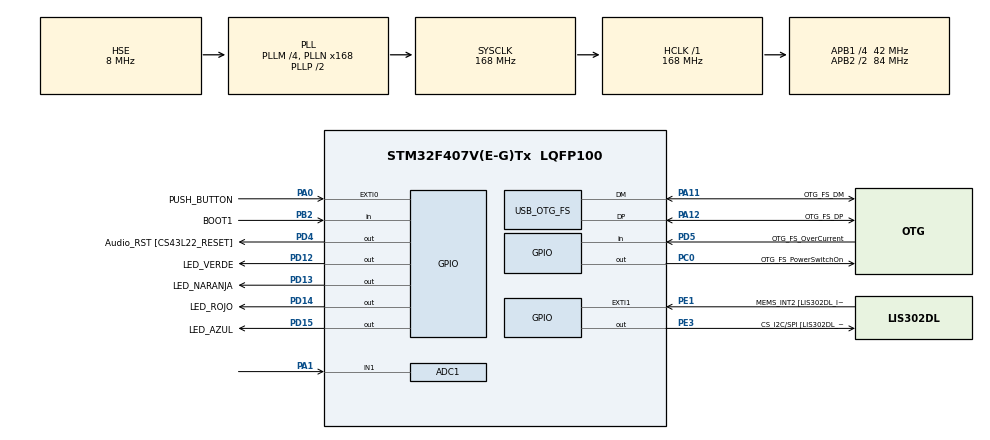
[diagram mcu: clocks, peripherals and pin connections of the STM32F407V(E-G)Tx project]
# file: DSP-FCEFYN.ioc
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ADC1.Channel-0\#ChannelRegularConversion=ADC_CHANNEL_1
ADC1.ClockPrescaler=ADC_CLOCK_SYNC_PCLK_DIV4
ADC1.ContinuousConvMode=DISABLE
ADC1.DMAContinuousRequests=DISABLE
ADC1.ExternalTrigConv=ADC_EXTERNALTRIGCONV_T2_TRGO
ADC1.NbrOfConversionFlag=1
ADC1.Rank-0\#ChannelRegularConversion=1
ADC1.Resolution=ADC_RESOLUTION_12B
ADC1.SamplingTime-0\#ChannelRegularConversion=ADC_SAMPLETIME_3CYCLES
ADC1.master=1
Mcu.Family=STM32F4
Mcu.Name=STM32F407V(E-G)Tx
Mcu.Package=LQFP100
NVIC.ADC_IRQn=true\:0\:0\:false\:false\:true\:true\:true\:true
NVIC.EXTI0_IRQn=true\:0\:2\:false\:false\:true\:true\:true\:true
NVIC.OTG_FS_IRQn=true\:0\:0\:false\:false\:true\:false\:true\:true
NVIC.PriorityGroup=NVIC_PRIORITYGROUP_0
NVIC.TIM5_IRQn=true\:0\:0\:false\:false\:true\:true\:true\:true
PA0-WKUP.GPIO_Label=PUSH_BUTTON
PA0-WKUP.Signal=GPXTI0
PA1.Signal=ADCx_IN1
PA10.GPIO_Label=OTG_FS_ID
PA10.GPIO_Mode=GPIO_MODE_AF_PP
PA10.GPIO_PuPd=GPIO_NOPULL
PA10.GPIO_Speed=GPIO_SPEED_FREQ_LOW
PA10.Signal=USB_OTG_FS_ID
PA11.GPIO_Label=OTG_FS_DM
PA11.GPIO_Mode=GPIO_MODE_AF_PP
PA11.GPIO_PuPd=GPIO_NOPULL
PA11.GPIO_Speed=GPIO_SPEED_FREQ_LOW
PA11.Mode=Device_Only
PA11.Signal=USB_OTG_FS_DM
PA12.GPIO_Label=OTG_FS_DP
PA12.GPIO_Mode=GPIO_MODE_AF_PP
PA12.GPIO_PuPd=GPIO_NOPULL
PA12.GPIO_Speed=GPIO_SPEED_FREQ_LOW
PA12.Mode=Device_Only
PA12.Signal=USB_OTG_FS_DP
PA13.GPIO_Label=SWDIO
PA13.Signal=SYS_JTMS-SWDIO
PA14.GPIO_Label=SWCLK
PA14.Signal=SYS_JTCK-SWCLK
PA4.GPIO_Label=I2S3_WS [CS43L22_LRCK]
PA4.GPIO_Mode=GPIO_MODE_AF_PP
PA4.GPIO_PuPd=GPIO_NOPULL
PA4.GPIO_Speed=GPIO_SPEED_FREQ_LOW
PA4.Signal=I2S3_WS
PA5.GPIO_Label=SPI1_SCK [LIS302DL_SCL/SPC]
PA5.GPIO_Mode=GPIO_MODE_AF_PP
PA5.GPIO_PuPd=GPIO_NOPULL
PA5.GPIO_Speed=GPIO_SPEED_FREQ_LOW
PA5.Signal=SPI1_SCK
PA6.GPIO_Label=SPI1_MISO [LIS302DL_SDO]
PA6.GPIO_Mode=GPIO_MODE_AF_PP
PA6.GPIO_PuPd=GPIO_NOPULL
PA6.GPIO_Speed=GPIO_SPEED_FREQ_LOW
PA6.Signal=SPI1_MISO
PA7.GPIO_Label=SPI1_MOSI [LIS302DL_SDA/SDI/SDO]
PA7.GPIO_Mode=GPIO_MODE_AF_PP
PA7.GPIO_PuPd=GPIO_NOPULL
PA7.GPIO_Speed=GPIO_SPEED_FREQ_LOW
PA7.Signal=SPI1_MOSI
PA9.GPIO_Label=VBUS_FS
PA9.GPIO_Mode=GPIO_MODE_INPUT
PA9.GPIO_PuPd=GPIO_NOPULL
PA9.Signal=USB_OTG_FS_VBUS
PB10.GPIO_Label=CLK_IN [MP45DT02_CLK]
PB10.GPIO_Mode=GPIO_MODE_AF_PP
PB10.GPIO_PuPd=GPIO_NOPULL
PB10.GPIO_Speed=GPIO_SPEED_FREQ_LOW
PB10.Signal=I2S2_CK
PB2.GPIO_Label=BOOT1
PB2.GPIO_Mode=GPIO_MODE_INPUT
PB2.GPIO_PuPd=GPIO_NOPULL
PB2.Signal=GPIO_Input
PB3.GPIO_Label=SWO
PB3.Signal=SYS_JTDO-SWO
PB6.GPIO_Label=Audio_SCL [CS43L22_SCL]
PB6.GPIO_Mode=GPIO_MODE_AF_OD
PB6.GPIO_PuPd=GPIO_NOPULL
PB6.GPIO_Speed=GPIO_SPEED_FREQ_LOW
PB6.Signal=I2C1_SCL
PB9.GPIO_Label=Audio_SDA [CS43L22_SDA]
PB9.GPIO_Mode=GPIO_MODE_AF_OD
PB9.GPIO_PuPd=GPIO_NOPULL
PB9.GPIO_Speed=GPIO_SPEED_FREQ_LOW
PB9.Signal=I2C1_SDA
PC0.GPIO_Label=OTG_FS_PowerSwitchOn
PC0.GPIO_PuPd=GPIO_NOPULL
PC0.GPIO_Speed=GPIO_SPEED_FREQ_LOW
PC0.PinState=GPIO_PIN_SET
PC0.Signal=GPIO_Output
PC10.GPIO_Label=I2S3_SCK [CS43L22_SCLK]
PC10.GPIO_Mode=GPIO_MODE_AF_PP
PC10.GPIO_PuPd=GPIO_NOPULL
PC10.GPIO_Speed=GPIO_SPEED_FREQ_LOW
PC10.Signal=I2S3_CK
PC12.GPIO_Label=I2S3_SD [CS43L22_SDIN]
PC12.GPIO_Mode=GPIO_MODE_AF_PP
PC12.GPIO_PuPd=GPIO_NOPULL
PC12.GPIO_Speed=GPIO_SPEED_FREQ_LOW
PC12.Signal=I2S3_SD
PC14-OSC32_IN.GPIO_Label=PC14-OSC32_IN
PC14-OSC32_IN.Signal=RCC_OSC32_IN
PC15-OSC32_OUT.GPIO_Label=PC15-OSC32_OUT
PC15-OSC32_OUT.Signal=RCC_OSC32_OUT
PC3.GPIO_Label=PDM_OUT [MP45DT02_DOUT]
PC3.GPIO_Mode=GPIO_MODE_AF_PP
PC3.GPIO_PuPd=GPIO_NOPULL
PC3.GPIO_Speed=GPIO_SPEED_FREQ_LOW
PC3.Signal=I2S2_SD
PC7.GPIO_Label=I2S3_MCK [CS43L22_MCLK]
PC7.GPIO_Mode=GPIO_MODE_AF_PP
PC7.GPIO_PuPd=GPIO_NOPULL
PC7.GPIO_Speed=GPIO_SPEED_FREQ_LOW
PC7.Signal=I2S3_MCK
PD12.GPIO_Label=LED_VERDE
PD12.GPIO_ModeDefaultOutputPP=GPIO_MODE_OUTPUT_PP
PD12.GPIO_PuPd=GPIO_PULLDOWN
PD12.GPIO_Speed=GPIO_SPEED_FREQ_LOW
PD12.Signal=GPIO_Output
PD13.GPIO_Label=LED_NARANJA
PD13.GPIO_PuPd=GPIO_PULLDOWN
PD13.GPIO_Speed=GPIO_SPEED_FREQ_LOW
PD13.Signal=GPIO_Output
PD14.GPIO_Label=LED_ROJO
PD14.GPIO_PuPd=GPIO_PULLDOWN
PD14.GPIO_Speed=GPIO_SPEED_FREQ_LOW
PD14.Signal=GPIO_Output
PD15.GPIO_Label=LED_AZUL
PD15.GPIO_PuPd=GPIO_PULLDOWN
PD15.GPIO_Speed=GPIO_SPEED_FREQ_LOW
PD15.Signal=GPIO_Output
PD4.GPIO_Label=Audio_RST [CS43L22_RESET]
PD4.GPIO_PuPd=GPIO_NOPULL
PD4.GPIO_Speed=GPIO_SPEED_FREQ_LOW
PD4.Signal=GPIO_Output
PD5.GPIO_Label=OTG_FS_OverCurrent
PD5.GPIO_Mode=GPIO_MODE_INPUT
PD5.GPIO_PuPd=GPIO_NOPULL
PD5.Signal=GPIO_Input
PE1.GPIO_Label=MEMS_INT2 [LIS302DL_INT2]
PE1.GPIO_ModeDefaultEXTI=GPIO_MODE_EVT_RISING
PE1.GPIO_PuPd=GPIO_NOPULL
PE1.Signal=GPXTI1
PE3.GPIO_Label=CS_I2C/SPI [LIS302DL_CS_I2C/SPI]
PE3.GPIO_PuPd=GPIO_NOPULL
PE3.GPIO_Speed=GPIO_SPEED_FREQ_LOW
PE3.Signal=GPIO_Output
PH0-OSC_IN.GPIO_Label=PH0-OSC_IN
PH0-OSC_IN.Mode=HSE-External-Clock-Source
PH0-OSC_IN.Signal=RCC_OSC_IN
PH1-OSC_OUT.GPIO_Label=PH1-OSC_OUT
PH1-OSC_OUT.Mode=HSE-External-Clock-Source
PH1-OSC_OUT.Signal=RCC_OSC_OUT
ProjectManager.HeapSize=0x200
ProjectManager.StackSize=0x400
ProjectManager.TargetToolchain=STM32CubeIDE
RCC.48MHZClocksFreq_Value=48000000
RCC.AHBFreq_Value=168000000
RCC.APB1CLKDivider=RCC_HCLK_DIV4
RCC.APB1Freq_Value=42000000
RCC.APB1TimFreq_Value=84000000
RCC.APB2CLKDivider=RCC_HCLK_DIV2
RCC.APB2Freq_Value=84000000
RCC.APB2TimFreq_Value=168000000
RCC.CortexFreq_Value=168000000
RCC.HCLKFreq_Value=168000000
RCC.HSE_VALUE=8000000
RCC.HSI_VALUE=16000000
RCC.LSE_VALUE=32768
RCC.PLLM=4
RCC.PLLN=168
RCC.PLLQ=7
RCC.SYSCLKFreq_VALUE=168000000
RCC.SYSCLKSource=RCC_SYSCLKSOURCE_PLLCLK
RCC.VCOOutputFreq_Value=336000000
SH.ADCx_IN1.0=ADC1_IN1,IN1
TIM2.AutoReloadPreload=TIM_AUTORELOAD_PRELOAD_ENABLE
TIM2.Period=1749
TIM2.TIM_MasterOutputTrigger=TIM_TRGO_UPDATE
TIM5.AutoReloadPreload=TIM_AUTORELOAD_PRELOAD_ENABLE
TIM5.Period=4999
TIM5.Prescaler=8399
TIM6.Prescaler=168-1
USB_DEVICE.CLASS_NAME_FS=CDC
USB_DEVICE.VirtualMode-CDC_FS=Cdc
USB_DEVICE.VirtualModeFS=Cdc_FS
USB_OTG_FS.VirtualMode=Device_Only
VP_TIM2_VS_ClockSourceINT.Mode=Internal
VP_TIM2_VS_ClockSourceITR.Mode=TriggerSource_ITR0
VP_TIM5_VS_ClockSourceINT.Mode=Internal
VP_TIM5_VS_ClockSourceITR.Mode=TriggerSource_ITR0
VP_TIM6_VS_ClockSourceINT.Mode=Enable_Timer
VP_USB_DEVICE_VS_USB_DEVICE_CDC_FS.Mode=CDC_FS
board=STM32F407G-DISC1

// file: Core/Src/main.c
/* USER CODE BEGIN Header */
/**
  *********************************************************************************************************************************************************************************************************************************************************************
  * @file main.c
  * @brief DSP - FCEFYN
  *
  * @author  Font Julián
  * @version 4.X.X
  *********************************************************************************************************************************************************************************************************************************************************************
  * @attention
  * Trabajos Prácticos de Procesamiento Digital de Señales - Facultad de Ciencias Exactas, Físicas y Naturales - Universidad Nacional de Córdoba
  *
  * Docentes:
  *  			Ing. Parlanti Gustavo
  * 			Dr. Molina German
  *  			Ing. Mgter. Rossi Roberto
  *
  * Estructura de las versiones del proyecto:
  * 			TP1 (v1.x.x): Muestreo y transmisión USB
  * 			TP2 (v2.x.x): Implementación de filtros FIR
  * 			TP3 (v3.x.x): Cálculo de FFT
  * 			TP4 (v4.x.x): Filtro adaptativo para cancelación de ruido
  *
  * Plataforma: STM32F407-DISCOVERY @ 168MHz
  *
  * Interfaz: Osciloscopio Virtual en Python (Comunicación USB CDC) (ver GitHub)
  *
  * Funcionalidades clave:
  * - Muestreo con frecuencias 8k-196k Hz (ADC1 + Trigger Timer 2)
  * - FIFO Queue (Buffer circular) en q15_t
  * - Filtrado FIR en tiempo real
  * - Calculo y envio de FFT en tiempo real
  * - Frecuencia de sampling, tamaño de ventana y tipo de filtro modificables en tiempo real
  * - Control remoto via comandos USB
  *
  *	Este proyecto fue creado para completar los 4 trabajos prácticos de la materia. Se utiliza la placa STM32F407-DISCOVERY, cuyo microcontrolador es el
  *	STM32F407VGT6. La frecuencia de clock utilizada es 168 MHz (máxima)
  *	El mismo fue creado a la par del proyecto "Osciloscopio Virtual", programado en Python, por lo que esta pensado para cumplir las consignas de diseño utilizando este
  *	osciloscopio virtual como principal herramienta de interacción y visualización de datos. Estos se envían mediante el periférico USB_OTG en modo Full Speed. Se configura
  *	el middleware como Virtual Com Port (Comunication Device Class). Para la lógica de envío, se llena un buffer con 64 muestras antes de ser enviadas. Esto para lograr
  *	eficiencia en altas velocidades.
  *
  *	Utilizando ADC1, se muestrea la señal que ingresa al pin PA1 a frecuencias de muestreo variables de 8, 16, 22, 44, 48, 96 y 196 K/S. Para conseguir las frecuencias
  *	de muestreo se utiliza el periférico ADC1 configurado por trigger del timer 2. El mismo se encuentra en el bus Advanced Peripheria Bus 2 (APB2), y en el mismo
  *	la frecuencia maxima de trabajo es 84MHz. Dinámicamente se cambia la frecuencia de disparo del trigger del timer, al cambiar el valor del ARR y recargando el mismo
  *	Fs = 84e6 / ((PSC + 1) * (ARR + 1)) con prescaler en 0, y despejando obtengo ARR = (84000000 / Fs) - 1.
  *
  *	A las señales muestreadas se las almacena en un buffer, definiendose el mismo en la libreria de desarrollo propio adjunta al proyecto "buffer_and_usb.h" y
  *	"buffer_and_usb.h". La estructura de datos utilizada es el  buffer circular, el cual implementa un indice de lectura (tail) y un indice de escritura (head). Para escribir
  *	un dato en el buffer circular se utiliza bufferWrite(), y para leer un dato del mismo se utiliza bufferRead(). Esta estructura de datos es la mas optima en DSP ya que
  *	permite gestionar de forma eficiente la memoria sin necesidad de desplazar datos tras cada adquisición, logrando latencias mínimas y sincronización facilitada entre
  *	adquisición y procesamiento en tiempo real.
  *	Dinaminacamente se puede cambiar el tamaño de estos buffer circulares, pudiendo seleccionar valores de N = 64(no funciona), 128, 256, 512, 1024, 2048 y 4096. Al actualizar
  *	estos valores, cambia el tamaño de los buffer tanto de adquisición como de procesamiento en todas las aplicaciones.
  *
  * Para cambiar cualquier variable dinámicamente, se ha implementado la recepción de arrays mediante la función "CDC_Receive_FS()" de "usbd_cdc_if.c", en donde se guarda el
  * dato recibido a usb command buffer "usbCmdBuffer" mediante memory copy "memcpy()". Se definen las variables necesarias en "usbd_cdc_if.h". En el while loop del main, se implementa la lectura en polling
  * del flag "newCommandFlag" y si  se encuentra un comando se decodifica el mismo.
  *
  *
  *
  * Historial de cambios:
  * v1.0.0		Creción del proyecto
  * v1.1.0		Se implementa el muestreo de datos mediante ADC1 por interrupción. Se configura el APB2 en 84 MHz y el prescaler del ADC en 4, resultando 21 MHz de clock para el ADC1. Con un a resolucion de 12 bits (15 ciclos de clock de ADC),
  * 			logramos una maxima Fs teorica de Fs = ADCCLK/Ciclos = 21 MHz/15 = 1.4 MSPS.
  * v1.2.0		Se cambia la implementación del ADC1 de interrupción a trigger del TIM2, con la frecuencia de trigger elegida. Fs = 84e6 / ((PSC + 1) * (ARR + 1)) para obtener un ARR = 1749 para Fs = 48 kHz
  * v1.3.0		Se implementa la estructura de datos "buffer circular" para tratamiento de los datos muestreados. Para esto se crea la libreria "buffer_and_usb.c y buffer_and_usb.h"
  * v1.4.0		Se implementa el envio de datos mediante el middleware USB_DEVICE en configuracion Comunication Device Class (Virtual Com Port) USB_OTG Full Speed. Se define el USB_BUFFER_SIZE de 64 para lograr la mayor eficiencia.
  * v1.5.0		Se implementa lectura de datos con usb otg. Se implementaron cambios en la funcion "CDC_Receive_FS()" de "usbd_cdc_if.c", en donde se guarda el dato recibido a "usbCmdBuffer" mediante
  * 			"memcpy()". Se definen las variables necesarias en "usbd_cdc_if.h". En "while(1)" del main, se implementa la lectura en polling del flag "newCommandFlag" y se decodifica el comando recibido. Se cambia la
  * 			frecuencia de sampling con la formula "ARR = (84000000 / newFS) - 1". El LED AZUL confirma que la placa recibó el comando. Frecuencias disponibles: 8k, 16k, 22k, 44k, 48k, 96k y 196k (tengo problemas para llegar a esa velocidad).
  *
  * v2.0.0		Se comienza a trabajar en la implementacion de los filtros FIR. Para esto se instala la libreria CMSIS-DSP en el proyecto. Se comienza diseñando los filtros en filterDesigner (MATLAB)
  * v2.0.1		Se adjuntan los filtros diseñados en filterDesigner al proyecto (casteados a q15_t)
  *
  * v1.2.0		Se comienza a implementar una diferenciación entre el envío de la señal muestreada y la fft de la misma. Para esto se utiliza la palabra reservada "0xFF", la cual indica que a partir del envio de la misma se
  * 			enviará la fft de effective_buffer_size/2 muestras (solo enviamos la magnitud).
  * v1.3.0		Se elimina el dc offset antes de calcular la fft. Esto se hace en "processFFT"
  * v1.4.0		Se implementa el cambio del tamaño del buffer mediante comandos recibidos en "CDC_Receive_FS()".
  *	v1.5.0		Se implementa el cambio de velocidad de envio de la fft con interrupcion por timer 5, con frecuencia de interrupcion dada por los milisegundos enviados a "CDC_Receive_FS()".
  *				Se implementa funcion "checkUSBRecive()" para diferenciar los comandos recibidos.
  *	v1.6.0		Se implementa la posibilidad de detener el computo y envio de la fft mediante comandos recibidos en "CDC_Receive_FS()".
  * v1.6.1		Se emprolija el codigo. Se agrupan algoritmos ùtiles en funciones para ser reutilizados.
  * v1.6.2		Se comentan todas las funciones.
  * v1.7.0		Se cambia la estructura de datos del buffer circular. Me gusta mas como esta ahora, aunque hay que ver como se comporta.
  *
  *
  * A realizar:
  * REALIZADO EN v1.1.0			Implementar lectura de datos con usb otg. Esto para poder cambiar fsampling y tamaño del buffer desde python. La idea es enviar comandos desde la pc, y que el microcontrolador lo lea y decodifique.
  * REALIZADO EN v1.2.0			Enviar a la vez la fft y los datos muestreados. Ver la forma de diferenciarlos.
  * REALIZADO EN v1.3.0		    Quitar el offset de la señal muestreada.
  * REALIZADO EN v1.4.0			Implementar cambio de tamaño de buffer mediante lectura de datos recibidos en usb otg.
  * REALIZADO EN v1.5.0			Implementar el cambio de velocidad de envio de la fft.
  * TODO Cambiar el tratamiento de datos de float32 a q15 en la fft.
  * TODO Buscar maneras de aumentar la velocidad de transmision. (Implementar DMA)
  * TODO Implementar filtros fir.
  * TODO Quitar todos los perifericos del main.c para facilitar lectura del codigo.
  *
  *
  *
  * Font Julian - julian.font@mi.unc.edu.ar - 2025
  *********************************************************************************************************************************************************************************************************************************************************************
  */

/* USER CODE END Header */
#include "main.h"
#include "adc.h"
#include "tim.h"
#include "usb_device.h"
#include "gpio.h"

/* USER CODE BEGIN Includes */
#include "usbd_cdc_if.h"
#include "arm_math.h"
#include "buffer_and_usb.h"
#include "filters.h"
#include "ecg.h"
/* USER CODE END Includes */

/* USER CODE BEGIN PV */
uint32_t timer6_value = 0;
volatile uint32_t newFS = RESET_SAMPLING_FREQUENCY; //Reset = 8000Hz
volatile uint32_t tim2_ARR = (84000000/RESET_SAMPLING_FREQUENCY) - 1; //Reset = 10499

volatile uint8_t FIR_flag = 0; //Flag de aplicacion de filtro fir
volatile uint8_t ECG_flag = 0; //Flag de modo ecg
volatile uint8_t FFT_flag = 0; //Flag de calculo y envio de fft
volatile uint8_t SEND_flag = 1; //Flag de envio de señal muestreada
uint8_t fft_send_flag = 0;
uint8_t fft_word = 0xFF;

q15_t aux = 0;

uint16_t adcIndex = 0;
circularBuffer_t adcBuffer = {{0}, 0, 0, 512};
circularBuffer_t filteredBuffer = {{0}, 0, 0, 512};
extern circularBuffer_t ecgBuffer;
q15_t filterInput[MAX_CIRCULAR_BUFFER_SIZE];
q15_t filterOutput[MAX_CIRCULAR_BUFFER_SIZE];

arm_fir_instance_q15 fir_instance_ECG;
arm_fir_instance_q15 fir_instance[NUMBER_OF_SAMPLING_FREQUENCYS][NUMBER_OF_FILTERS];
uint8_t filtro = lp; //filtro lowpass iniciado en el reset
uint8_t fs = fs_8k; //fsampling 8kHz en el reset

arm_rfft_instance_q15 fftInstance;
circularBuffer_t fftBuffer = {{0}, 0, 0, 512};
volatile uint16_t effective_buffer_size = 512;

extern uint8_t ecg_uint8_t[ecg_size];
uint16_t ecg_index = 0;
/* USER CODE END PV */

void SystemClock_Config(void);
/* USER CODE BEGIN PFP */
void checkUSBRecive(void);
void computeFFT(circularBuffer_t *in, circularBuffer_t *out, uint16_t buffer_size);
/* USER CODE END PFP */

int main(void)
{

  /* MCU Configuration--------------------------------------------------------*/

  /* Reset of all peripherals, Initializes the Flash interface and the Systick. */
  HAL_Init();

  /* Configure the system clock */
  SystemClock_Config();

  /* Initialize all configured peripherals */
  MX_GPIO_Init();
  MX_ADC1_Init();
  MX_USB_DEVICE_Init();
  MX_TIM2_Init();
  MX_TIM6_Init();
  MX_TIM5_Init();
  /* USER CODE BEGIN 2 */
  HAL_TIM_Base_Start(&htim2);
  HAL_TIM_Base_Start(&htim6);

  initFiltros();
  initECG();
  arm_rfft_init_q15(&fftInstance, effective_buffer_size, 0, 1);
  HAL_GPIO_WritePin(GPIOD, LED_VERDE, 1);

  HAL_TIM_Base_Start_IT(&htim5);
  HAL_ADC_Start_IT(&hadc1);
  HAL_NVIC_SetPriority(TIM5_IRQn, 0, 0);
  HAL_NVIC_EnableIRQ(TIM5_IRQn);
  /********************************MEDIR TIEMPO DE EJECUCION DE INSTRUCCIONES*******************************************
    if (!(DWT->CTRL & DWT_CTRL_CYCCNTENA_Msk))
    {
        CoreDebug->DEMCR |= CoreDebug_DEMCR_TRCENA_Msk;  // Habilita el trazador
        DWT->CYCCNT = 0;                                   // Reinicia el contador
        DWT->CTRL |= DWT_CTRL_CYCCNTENA_Msk;               // Habilita el contador de ciclos
    }

    uint32_t start_cycles = DWT->CYCCNT;
    uint32_t end_cycles = DWT->CYCCNT;
    uint32_t ciclos_totales = end_cycles - start_cycles;
    float tiempo_us = (ciclos_totales / 168000000.0f) * 1e6f;
  *********************************************************************************************************************/
  /* USER CODE END 2 */

  /* Infinite loop */
  while (1)
  {

    /* USER CODE BEGIN 3 */
	  checkUSBRecive();

	if(ECG_flag == 1){
		if(ecg_index == ecg_size - 1){ecg_index = 1;}
		HAL_Delay(0.5);

		ecg_index++;

	CDC_Transmit_FS(&ecg_uint8_t[ecg_index], 1);

	}
else{
	  if(FFT_flag == 1 && FIR_flag == 1){
		  if(SEND_flag == 1) sendBuffer2usb(&filteredBuffer);
		  if(fft_send_flag == 1) computeFFT(&filteredBuffer, &fftBuffer, effective_buffer_size);
	  }
	  else if(FFT_flag == 1 && FIR_flag == 0){
		  if(SEND_flag == 1)sendBuffer2usb(&adcBuffer);
		  if(fft_send_flag == 1) computeFFT(&adcBuffer, &fftBuffer, effective_buffer_size);
	  }
	  else if(FFT_flag == 0 && FIR_flag == 1){
		  if(SEND_flag == 1) sendBuffer2usb(&filteredBuffer);
	  }
	  else if(FFT_flag == 0 && FIR_flag == 0){
		  if(SEND_flag == 1) sendBuffer2usb(&adcBuffer);
	  }
	}

  }
  /* USER CODE END 3 */
}

void SystemClock_Config(void)
{
  RCC_OscInitTypeDef RCC_OscInitStruct = {0};
  RCC_ClkInitTypeDef RCC_ClkInitStruct = {0};

  /** Configure the main internal regulator output voltage
  */
  __HAL_RCC_PWR_CLK_ENABLE();
  __HAL_PWR_VOLTAGESCALING_CONFIG(PWR_REGULATOR_VOLTAGE_SCALE1);

  /** Initializes the RCC Oscillators according to the specified parameters
  * in the RCC_OscInitTypeDef structure.
  */
  RCC_OscInitStruct.OscillatorType = RCC_OSCILLATORTYPE_HSE;
  RCC_OscInitStruct.HSEState = RCC_HSE_BYPASS;
  RCC_OscInitStruct.PLL.PLLState = RCC_PLL_ON;
  RCC_OscInitStruct.PLL.PLLSource = RCC_PLLSOURCE_HSE;
  RCC_OscInitStruct.PLL.PLLM = 4;
  RCC_OscInitStruct.PLL.PLLN = 168;
  RCC_OscInitStruct.PLL.PLLP = RCC_PLLP_DIV2;
  RCC_OscInitStruct.PLL.PLLQ = 7;
  if (HAL_RCC_OscConfig(&RCC_OscInitStruct) != HAL_OK)
  {
    Error_Handler();
  }

  /** Initializes the CPU, AHB and APB buses clocks
  */
  RCC_ClkInitStruct.ClockType = RCC_CLOCKTYPE_HCLK|RCC_CLOCKTYPE_SYSCLK
                              |RCC_CLOCKTYPE_PCLK1|RCC_CLOCKTYPE_PCLK2;
  RCC_ClkInitStruct.SYSCLKSource = RCC_SYSCLKSOURCE_PLLCLK;
  RCC_ClkInitStruct.AHBCLKDivider = RCC_SYSCLK_DIV1;
  RCC_ClkInitStruct.APB1CLKDivider = RCC_HCLK_DIV4;
  RCC_ClkInitStruct.APB2CLKDivider = RCC_HCLK_DIV2;

  if (HAL_RCC_ClockConfig(&RCC_ClkInitStruct, FLASH_LATENCY_5) != HAL_OK)
  {
    Error_Handler();
  }
}

/* USER CODE BEGIN 4 */
/**
  * @brief  ADC Conversion Complete Callback
  * @param  hadc Pointer to ADC handle
  * @retval None
  * @note   Se ejecuta cuando finaliza una conversión ADC. Lee el valor convertido,
  *         escala a formato Q15, almacena en buffer y aplica filtrado FIR si está habilitado.
  *         Gestiona el índice de muestras y reinicia el proceso cuando se llena el buffer.
  */
void HAL_ADC_ConvCpltCallback(ADC_HandleTypeDef *hadc)
{
	uint16_t adcValue = HAL_ADC_GetValue(hadc);

	// Escalar el valor ADC de 0–4095 a Q15 (–32768 a 32767)
	q15_t adcValueFix = (adcValue << 4) - 32768; // Escala 12 bits -> Q15

	bufferWrite(&adcBuffer, &adcValueFix); //Cargo el valor muestreado en el buffer circular adcBuffer

	if(FIR_flag == 1){

			bufferRead(&adcBuffer, &filterInput[adcIndex]); //Leo el valor muestreado desde adcBuffer y lo coloco en el auxiliar dataIn

			if(ECG_flag == 1){
			arm_fir_q15(&fir_instance_ECG, &filterInput[0] + adcIndex, &filterOutput[0] + adcIndex, BLOCK_SIZE);
			}

			//htim6.Instance->CNT=0;
			arm_fir_q15(&fir_instance[fs][filtro], &filterInput[0] + adcIndex, &filterOutput[0] + adcIndex, BLOCK_SIZE);
			//timer6_value = __HAL_TIM_GET_COUNTER(&htim6);

			bufferWrite(&filteredBuffer, &filterOutput[adcIndex]); //Cargo el auxiliar dataOut en el buffer circular filteredBuffer

		}

	if(adcIndex == effective_buffer_size){
		adcIndex = 0;
	}

	adcIndex++;

}

/**
  * @brief  USB Command Processing Function
  * @retval None
  * @note   Verifica y procesa comandos recibidos por USB. Controla:
  *         - Cambio de frecuencia de muestreo
  *         - Tamaño de buffers
  *         - Activación/desactivación de filtros FIR
  *         - Modo ECG
  *         - Envío de FFT y datos crudos
  *         Actualiza parámetros del sistema y periféricos según comandos recibidos.
  */
void checkUSBRecive(void)
{
    if (newCommandFlag)
    {
		HAL_TIM_Base_Stop(&htim2);
		HAL_ADC_Stop_IT(&hadc1);

		newCommandFlag = 0;

		HAL_GPIO_WritePin(GPIOD, LED_AZUL, 1);
		HAL_Delay(100);
		HAL_GPIO_WritePin(GPIOD, LED_AZUL, 0);

        		/*	Cambiar Fsampling	*/
        if (strncmp((char*)usbCmdBuffer, "FS:", 3) == 0) {
            newFS = atoi((char*)(usbCmdBuffer + 3));
            tim2_ARR = (84000000 / newFS) - 1;
            if (newFS == 1000){fs = fs_1k;}
            else if(newFS == 8000){fs = fs_8k;}
            else if(newFS == 16000){fs = fs_16k;}
            else if(newFS == 22000){fs = fs_22k;}
            else if(newFS == 44000){fs = fs_44k;}
            else if(newFS == 48000){fs = fs_48k;}
            else if(newFS == 96000){fs = fs_96k;}
            adcIndex = 0;
            __HAL_TIM_SET_AUTORELOAD(&htim2, tim2_ARR);
        }

        if(strncmp((char*)usbCmdBuffer, "BS:", 3) == 0){
      	  effective_buffer_size = atoi((char*)(usbCmdBuffer + 3));
      	  adcBuffer.effective_size = effective_buffer_size;
		  filteredBuffer.effective_size = effective_buffer_size;
		  fftBuffer.effective_size = effective_buffer_size;
		  adcBuffer.head = adcBuffer.tail = 0;
		  filteredBuffer.head = filteredBuffer.tail = 0;
		  fftBuffer.head = fftBuffer.tail = 0;
		   // Re-inicializar la FFT con el nuevo tamaño
		  arm_rfft_init_q15(&fftInstance, effective_buffer_size, 0, 1);
          	  }

        		/*	Cambiar filtro fir	*/
		if (strncmp((char*)usbCmdBuffer, "f_fir:", 6) == 0) {
			uint8_t rx = atoi((char*)(usbCmdBuffer + 6));
			adcIndex = 0;
			if (rx == lp){filtro = lp;}
			else if(rx == hp){filtro = hp;}
			else if(rx == n){filtro = n;}
			else if(rx == bp){filtro = bp;}

		}

		/*	Activar/desactivar adquisición en modo ECG	*/
		if (strncmp((char*)usbCmdBuffer, "ECG:", 4) == 0) {
			ECG_flag = atoi((char*)(usbCmdBuffer + 4));
			if(ECG_flag == 1){
				HAL_GPIO_WritePin(GPIOD, LED_ROJO, 1);
				tim2_ARR = 1000;
				fs = fs_1k;
				__HAL_TIM_SET_AUTORELOAD(&htim2, tim2_ARR);
			}
			else if(ECG_flag == 0){HAL_GPIO_WritePin(GPIOD, LED_ROJO, 0);}
		}

			/*	Activar/desactivar filtrado FIR	*/
		if (strncmp((char*)usbCmdBuffer, "FIR:", 4) == 0) {
			FIR_flag = atoi((char*)(usbCmdBuffer + 4));
			if(FIR_flag == 1){HAL_GPIO_WritePin(GPIOD, LED_ROJO, 1);}
			else{HAL_GPIO_WritePin(GPIOD, LED_ROJO, 0);}
		}

			/*	Activar/desactivar calculo de FFT	*/
		if (strncmp((char*)usbCmdBuffer, "FFT:", 4) == 0) {
			FFT_flag = atoi((char*)(usbCmdBuffer + 4));
			if(FFT_flag == 1){HAL_GPIO_WritePin(GPIOD, LED_NARANJA, 1);}
			else{HAL_GPIO_WritePin(GPIOD, LED_NARANJA, 0);}
		}

			/*	Activar/desactivar envio de señal muestreda	*/
		if (strncmp((char*)usbCmdBuffer, "SEND:", 5) == 0) {
			SEND_flag = atoi((char*)(usbCmdBuffer + 5));
			if(SEND_flag == 1){HAL_GPIO_WritePin(GPIOD, LED_VERDE, 1);}
			else{HAL_GPIO_WritePin(GPIOD, LED_VERDE, 0);}
		}

		if (strncmp((char*)usbCmdBuffer, "ECG:", 4) == 0) {
			ECG_flag = atoi((char*)(usbCmdBuffer + 4));
		}

    }

		HAL_TIM_Base_Start(&htim2);
		HAL_ADC_Start_IT(&hadc1);
}

void HAL_GPIO_EXTI_Callback(uint16_t GPIO_Pin)

{
    if (GPIO_Pin == GPIO_PIN_0)
    {

    }
}

/**
  * @brief  FFT Computation Function
  * @param  in Pointer to input circular buffer
  * @param  out Pointer to output circular buffer
  * @param  buffer_size Size of the buffer to process
  * @retval None
  * @note   Calcula la FFT de las muestras en el buffer de entrada:
  *         1. Extrae muestras del buffer circular
  *         2. Elimina componente DC
  *         3. Calcula FFT usando ARM CMSIS
  *         4. Calcula magnitud y normaliza
  *         5. Envía resultado por USB con cabecera 0xFF
  */
void computeFFT(circularBuffer_t *in, circularBuffer_t *out, uint16_t buffer_size) {
    // Se definen arreglos locales para almacenar los datos intermedios
    q15_t fftInputAux[buffer_size];
    q15_t fftOutputAux[buffer_size*2];
    q15_t fftMagnitudeAux[buffer_size];

    uint16_t currentTail = in->tail;
    for (int i = 0; i < buffer_size; i++) {
        fftInputAux[i] = in->buf[(currentTail + i) % in->effective_size];
    }

    q15_t dc = 0;
    arm_mean_q15(fftInputAux, buffer_size, &dc);

    // Resta el DC a cada muestra
    for (int i = 0; i < buffer_size; i++) {
        fftInputAux[i] = fftInputAux[i] - dc;
    }

    // Ejecuta la FFT sobre el bloque de datos sin DC
    arm_rfft_q15(&fftInstance, fftInputAux, fftOutputAux);
    // Calcula la magnitud del espectro FFT
    arm_abs_q15(fftOutputAux, fftMagnitudeAux, buffer_size);

    q15_t maxVal = 0;
    arm_max_q15(fftMagnitudeAux, buffer_size, &maxVal, 0);
    if (maxVal == 0) maxVal = 1; // Evitar división por cero

    for (int i = 0; i < buffer_size; i++) {
    	fftMagnitudeAux[i] = (q15_t)((((int32_t)fftMagnitudeAux[i] * 0xFFFF ) / maxVal) - 0x8000);
    }

    CDC_Transmit_FS(&fft_word, 1);
    for(int i = 0; i < buffer_size; i++){
        bufferWrite(out, &fftMagnitudeAux[i]);
        sendBuffer2usb(out);
    }

    fft_send_flag = 0;

}

/**
  * @brief  Timer Period Elapsed Callback
  * @param  htim Pointer to TIM handle
  * @retval None
  * @note   Interrupción por timer para envío periódico de FFT
  *         Activa flag de envío cuando se produce la interrupción del TIM5
  */
void HAL_TIM_PeriodElapsedCallback(TIM_HandleTypeDef *htim)
{
    if (htim->Instance == TIM5)
    {
        fft_send_flag = 1;
    }

}

/* USER CODE END 4 */

void Error_Handler(void)
{
  __disable_irq();
  while (1)
  {
  }
}
